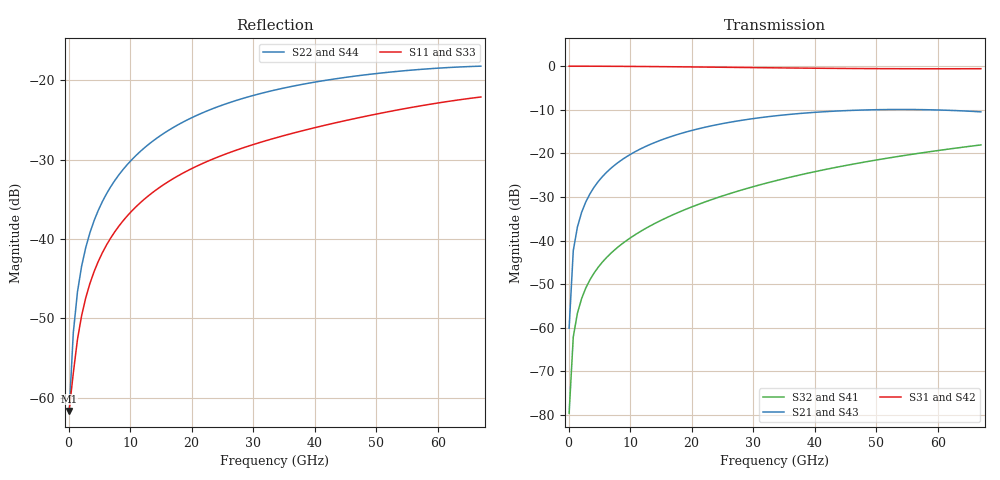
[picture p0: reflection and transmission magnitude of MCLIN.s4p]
! Created with skrf (http://scikit-rf.org).
# Hz S RI R 50.0
!freq ReS11 ImS11 ReS12 ImS12 ReS13 ImS13
! ReS14 ImS14
! ReS21 ImS21 ReS22 ImS22 ReS23 ImS23
! ReS24 ImS24
! ReS31 ImS31 ReS32 ImS32 ReS33 ImS33
! ReS34 ImS34
! ReS41 ImS41 ReS42 ImS42 ReS43 ImS43
! ReS44 ImS44
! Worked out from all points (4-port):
!   100 points, 100 MHz to 67 GHz, reference 50 ohm
!   strongest paths, dB at 100 MHz, 16.99 GHz, 33.89 GHz, 50.78 GHz, 67 GHz:
!     S31: 0.0, -0.1, -0.4, -0.6, -0.6
!     S42: 0.0, -0.1, -0.4, -0.6, -0.6
!     S21: -60.1, -16.0, -11.4, -10.0, -10.5
!     S43: -60.1, -16.0, -11.4, -10.0, -10.5
!     S32: -79.6, -34.1, -26.2, -21.3, -18.1
!     S41: -79.6, -34.1, -26.2, -21.4, -18.1
!   lowest |S11| = -61.7 dB at 100 MHz (marker M1), VSWR 1.00, Z = 50.1 - j0.015 ohm
!   |S11| at or under -10 dB: start of sweep to end of sweep
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1e8  0.000809 -0.00015  3.11e-05 0.000988  0.9992 -0.00307  -2.58e-05 -0.000101
     3.11e-05 0.000989  0.00073 -0.000317  -2.58e-05 -0.000101  0.9993 -0.0031
     0.9992 -0.00307  -2.58e-05 -0.000101  0.000809 -0.00015  3.11e-05 0.000988
     -2.58e-05 -0.000101  0.9993 -0.0031  3.11e-05 0.000989  0.00073 -0.000317
7.757576e8  0.000813 -0.00117  0.000236 0.00766  0.9988 -0.0238  -4.11e-05 -0.000786
            0.000236 0.00766  0.000694 -0.00245  -4.11e-05 -0.000785  0.9989 -0.024
            0.9988 -0.0238  -4.11e-05 -0.000786  0.000813 -0.00117  0.000236 0.00766
            -4.11e-05 -0.000785  0.9989 -0.024  0.000236 0.00766  0.000694 -0.00245
2.127273e9  0.000748 -0.00319  0.00146 0.021  0.9965 -0.0652  -8.21e-05 -0.00216
            0.00146 0.021  0.000408 -0.00672  -8.18e-05 -0.00215  0.9966 -0.0659
            0.9965 -0.0652  -8.21e-05 -0.00216  0.000748 -0.00319  0.00146 0.021
            -8.18e-05 -0.00215  0.9966 -0.0659  0.00146 0.021  0.000408 -0.00672
5.506061e9  3.67e-05 -0.0082  0.00924 0.0533  0.9827 -0.1676  -0.000325 -0.00566
            0.00924 0.0533  -0.00167 -0.0171  -0.000324 -0.00565  0.9824 -0.1693
            0.9827 -0.1676  -0.000325 -0.00566  3.67e-05 -0.0082  0.00924 0.0533
            -0.000324 -0.00565  0.9824 -0.1693  0.00924 0.0533  -0.00167 -0.0171
1.091212e10  -0.00268 -0.0157  0.0346 0.0994  0.9371 -0.325  -0.00133 -0.0117
             0.0346 0.0994  -0.0088 -0.0323  -0.00133 -0.0117  0.9357 -0.3281
             0.9371 -0.325  -0.00133 -0.0117  -0.00268 -0.0157  0.0346 0.0994
             -0.00133 -0.0117  0.9357 -0.3281  0.0346 0.0994  -0.0088 -0.0323
3.861818e10  -0.0337 -0.0353  0.2631 0.1229  0.3923 -0.8637  -0.0408 -0.0422
             0.2631 0.1229  -0.0785 -0.0545  -0.0407 -0.0422  0.3827 -0.8643
             0.3923 -0.8637  -0.0408 -0.0422  -0.0337 -0.0353  0.2631 0.1229
             -0.0407 -0.0422  0.3827 -0.8643  0.2631 0.1229  -0.0785 -0.0545
6.7e10  -0.0774 -0.0141  0.2842 -0.093  -0.3297 -0.8742  -0.124 0.0144
        0.2842 -0.093  -0.123 0.00426  -0.124 0.0143  -0.3381 -0.8661
        -0.3297 -0.8742  -0.124 0.0144  -0.0774 -0.0141  0.2842 -0.093
        -0.124 0.0143  -0.3381 -0.8661  0.2842 -0.093  -0.123 0.00426
